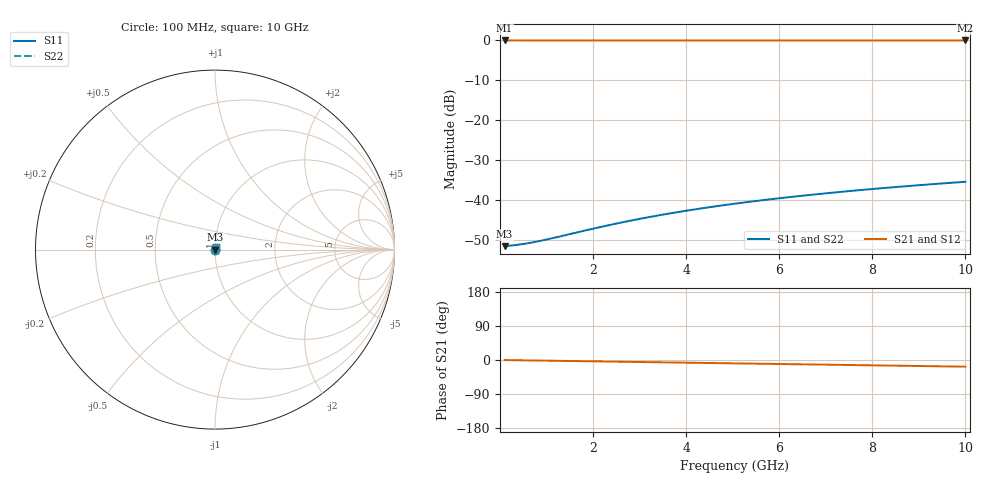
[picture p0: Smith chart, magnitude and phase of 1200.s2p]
# Hz S RI R 50.00
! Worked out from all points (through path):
!   100 points, 100 MHz to 10 GHz, reference 50 ohm
!   highest |S21| = -0.02 dB at 100 MHz (marker M1); lowest = 0.0 dB at 10 GHz (marker M2)
!   group delay of S21, straight-line fit = 4.89 ps
!   lowest |S11| = -51.5 dB at 100 MHz (marker M3), VSWR 1.01, Z = 50.3 + j0.0164 ohm
!   |S11| at or under -10 dB: start of sweep to end of sweep
!   |S22| runs from -51.5 to -35.4 dB; largest |S21 - S12| = 0
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1e8  0.00265 0.000163  0.9973 -0.00306  0.9973 -0.00306  0.00265 0.000163
3e8  0.00268 0.000489  0.9973 -0.00918  0.9973 -0.00918  0.00268 0.000489
4e8  0.00269 0.000652  0.9972 -0.0122  0.9972 -0.0122  0.00269 0.000652
5e8  0.00271 0.000815  0.9972 -0.0153  0.9972 -0.0153  0.00271 0.000815
7e8  0.00273 0.00114  0.997 -0.0214  0.997 -0.0214  0.00273 0.00114
9e8  0.00276 0.00147  0.9969 -0.0275  0.9969 -0.0275  0.00276 0.00147
1.1e9  0.00279 0.00179  0.9967 -0.0337  0.9967 -0.0337  0.00279 0.00179
1.8e9  0.00291 0.00292  0.9957 -0.0551  0.9957 -0.0551  0.00291 0.00292
2.2e9  0.003 0.00357  0.9949 -0.0673  0.9949 -0.0673  0.003 0.00357
2.6e9  0.00311 0.00421  0.994 -0.0795  0.994 -0.0795  0.00311 0.00421
3e9  0.00323 0.00485  0.9929 -0.0917  0.9929 -0.0917  0.00323 0.00485
3.4e9  0.00337 0.00548  0.9917 -0.1039  0.9917 -0.1039  0.00337 0.00548
3.8e9  0.00352 0.00611  0.9903 -0.1161  0.9903 -0.1161  0.00352 0.00611
4.2e9  0.00369 0.00674  0.9888 -0.1282  0.9888 -0.1282  0.00369 0.00674
4.6e9  0.00387 0.00736  0.9871 -0.1404  0.9871 -0.1404  0.00387 0.00736
5.1e9  0.00412 0.00813  0.9848 -0.1555  0.9848 -0.1555  0.00412 0.00813
5.9e9  0.00457 0.00934  0.9806 -0.1797  0.9806 -0.1797  0.00457 0.00934
6.7e9  0.00507 0.0105  0.9759 -0.2038  0.9759 -0.2038  0.00507 0.0105
7.5e9  0.00564 0.0117  0.9705 -0.2278  0.9705 -0.2278  0.00564 0.0117
8.4e9  0.00634 0.0129  0.9638 -0.2546  0.9638 -0.2546  0.00634 0.0129
9.2e9  0.00703 0.014  0.9571 -0.2782  0.9571 -0.2782  0.00703 0.014
1e10  0.00777 0.0151  0.9499 -0.3017  0.9499 -0.3017  0.00777 0.0151
